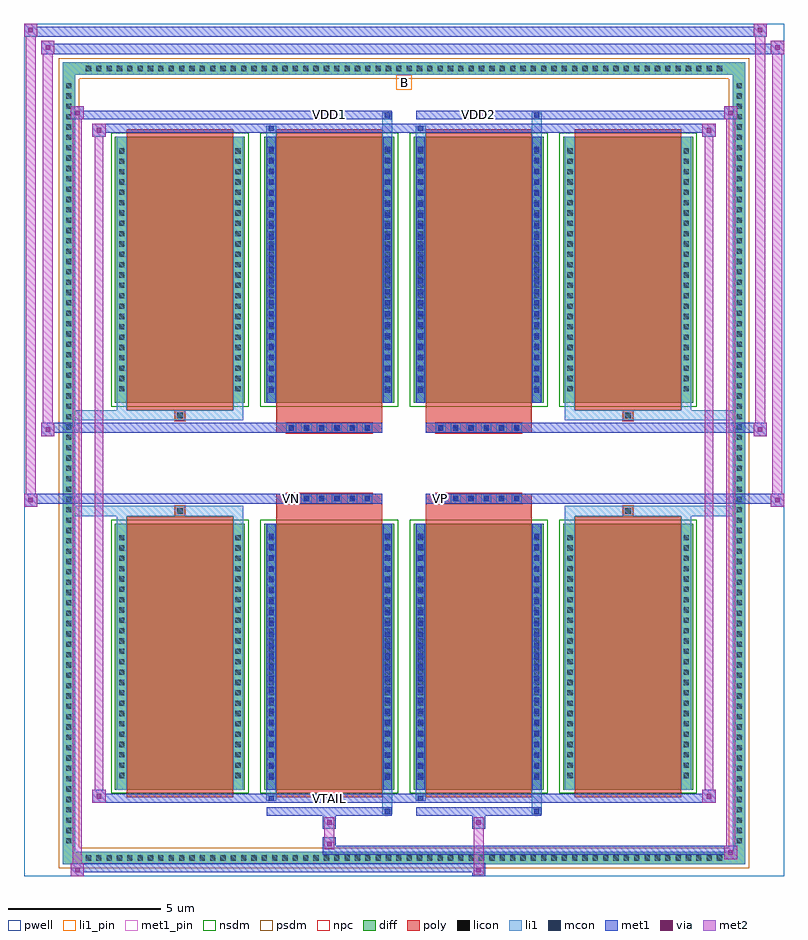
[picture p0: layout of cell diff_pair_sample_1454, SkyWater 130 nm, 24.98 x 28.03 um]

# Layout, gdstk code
import gdstk
lib = gdstk.Library(unit=1e-6, precision=5e-09)
def R(c, l, rs):  # rectangles x0, y0, x1, y1
    for r in rs: c.add(gdstk.rectangle(r[:2], r[2:], *l))
def A(c, l, x, y, w, h, nx, ny, dx, dy):  # array of equal rectangles
    R(c, l, [(x+i*dx, y+j*dy, x+i*dx+w, y+j*dy+h) for i in range(nx) for j in range(ny)])
def P(c, l, *ps):  # polygons
    for p in ps: c.add(gdstk.Polygon(p, *l))
pwell = (64, 44)
diff = (65, 20)
poly = (66, 20)
licon = (66, 44)
li1_pin = (67, 16)
li1 = (67, 20)
mcon = (67, 44)
met1_pin = (68, 16)
met1 = (68, 20)
via = (68, 44)
met2 = (69, 20)
nsdm = (93, 44)
psdm = (94, 20)
npc = (95, 20)

diff_pair_sample_1454 = lib.new_cell('diff_pair_sample_1454')
R(diff_pair_sample_1454, pwell, [(-12.49,-13.58,12.49,14.45), (-9.81,-11.77,-0.01,-0.795), (0.01,-11.77,9.81,-0.795), (-9.81,0.795,-0.01,11.77), (0.01,0.795,9.81,11.77)])
A(diff_pair_sample_1454, diff, -10.575, -13.18, 0.41, 0.41, 62, 2, 0.34, 25.95)
A(diff_pair_sample_1454, diff, -11.22, -12.615, 0.41, 0.41, 1, 74, 0, 0.34)
A(diff_pair_sample_1454, diff, 10.81, -12.615, 0.41, 0.41, 1, 74, 0, 0.34)
A(diff_pair_sample_1454, diff, -9.5, -10.725, 4.27, 8.74, 4, 2, 4.91, 12.71)
R(diff_pair_sample_1454, diff, [(-10.575,-13.18,10.575,-12.77), (-11.22,-12.615,-10.81,12.615), (10.81,-12.615,11.22,12.615), (-10.575,12.77,10.575,13.18)])
P(diff_pair_sample_1454, diff, [(11.22,13.18),(-11.22,13.18),(-11.22,-12.77),(-10.81,-12.77),(-10.81,12.77),(10.81,12.77),(10.81,-12.77),(-10.81,-12.77),(-11.22,-12.77),(-11.22,-13.18),(11.22,-13.18)])
A(diff_pair_sample_1454, poly, -9.11, -10.975, 3.49, 9.24, 4, 2, 4.91, 12.71)
A(diff_pair_sample_1454, poly, -3.87, -1.325, 0.33, 0.33, 6, 2, 0.5, 2.32)
A(diff_pair_sample_1454, poly, 1.04, -1.325, 0.33, 0.33, 6, 2, 0.5, 2.32)
R(diff_pair_sample_1454, poly, [(-7.53,-1.735,-7.2,-1.405), (-7.53,-1.735,-7.2,-1.405), (-4.2,-1.735,-0.71,-1.325), (0.71,-1.735,4.2,-1.325), (7.2,-1.735,7.53,-1.405), (7.2,-1.735,7.53,-1.405), (-4.2,-1.325,-0.71,-0.995), (0.71,-1.325,4.2,-0.995), (-4.2,0.995,-0.71,1.325), (0.71,0.995,4.2,1.325), (-4.2,1.325,-0.71,1.735), (0.71,1.325,4.2,1.735), (-7.53,1.405,-7.2,1.735), (-7.53,1.405,-7.2,1.735), (7.2,1.405,7.53,1.735), (7.2,1.405,7.53,1.735)])
A(diff_pair_sample_1454, licon, -10.455, -13.06, 0.17, 0.17, 62, 2, 0.34, 25.95)
A(diff_pair_sample_1454, licon, -11.1, -12.495, 0.17, 0.17, 1, 74, 0, 0.34)
A(diff_pair_sample_1454, licon, 10.93, -12.495, 0.17, 0.17, 1, 74, 0, 0.34)
A(diff_pair_sample_1454, licon, -9.36, -10.35, 0.17, 0.17, 1, 24, 0, 0.34)
A(diff_pair_sample_1454, licon, -5.54, -10.35, 0.17, 0.17, 1, 24, 0, 0.34)
A(diff_pair_sample_1454, licon, -4.45, -10.35, 0.17, 0.17, 1, 24, 0, 0.34)
A(diff_pair_sample_1454, licon, -0.63, -10.35, 0.17, 0.17, 1, 24, 0, 0.34)
A(diff_pair_sample_1454, licon, 0.46, -10.35, 0.17, 0.17, 1, 24, 0, 0.34)
A(diff_pair_sample_1454, licon, 4.28, -10.35, 0.17, 0.17, 1, 24, 0, 0.34)
A(diff_pair_sample_1454, licon, 5.37, -10.35, 0.17, 0.17, 1, 24, 0, 0.34)
A(diff_pair_sample_1454, licon, 9.19, -10.35, 0.17, 0.17, 1, 24, 0, 0.34)
A(diff_pair_sample_1454, licon, -3.79, -1.245, 0.17, 0.17, 6, 2, 0.5, 2.32)
A(diff_pair_sample_1454, licon, 1.12, -1.245, 0.17, 0.17, 6, 2, 0.5, 2.32)
A(diff_pair_sample_1454, licon, -9.36, 2.36, 0.17, 0.17, 1, 24, 0, 0.34)
A(diff_pair_sample_1454, licon, -5.54, 2.36, 0.17, 0.17, 1, 24, 0, 0.34)
A(diff_pair_sample_1454, licon, -4.45, 2.36, 0.17, 0.17, 1, 24, 0, 0.34)
A(diff_pair_sample_1454, licon, -0.63, 2.36, 0.17, 0.17, 1, 24, 0, 0.34)
A(diff_pair_sample_1454, licon, 0.46, 2.36, 0.17, 0.17, 1, 24, 0, 0.34)
A(diff_pair_sample_1454, licon, 4.28, 2.36, 0.17, 0.17, 1, 24, 0, 0.34)
A(diff_pair_sample_1454, licon, 5.37, 2.36, 0.17, 0.17, 1, 24, 0, 0.34)
A(diff_pair_sample_1454, licon, 9.19, 2.36, 0.17, 0.17, 1, 24, 0, 0.34)
R(diff_pair_sample_1454, licon, [(-7.45,-1.655,-7.28,-1.485), (7.28,-1.655,7.45,-1.485), (-7.45,1.485,-7.28,1.655), (7.28,1.485,7.45,1.655)])
R(diff_pair_sample_1454, li1_pin, [(-0.25,12.27,0.25,12.77)])
A(diff_pair_sample_1454, li1, -10.535, -13.14, 0.33, 0.33, 62, 2, 0.34, 25.95)
A(diff_pair_sample_1454, li1, -11.18, -12.575, 0.33, 0.33, 1, 74, 0, 0.34)
A(diff_pair_sample_1454, li1, 10.85, -12.575, 0.33, 0.33, 1, 74, 0, 0.34)
A(diff_pair_sample_1454, li1, -9.44, -10.43, 0.33, 0.33, 1, 24, 0, 0.34)
A(diff_pair_sample_1454, li1, -5.62, -10.43, 0.33, 0.33, 1, 24, 0, 0.34)
A(diff_pair_sample_1454, li1, -4.53, -10.43, 0.33, 0.33, 1, 24, 0, 0.34)
A(diff_pair_sample_1454, li1, -0.71, -10.43, 0.33, 0.33, 1, 24, 0, 0.34)
A(diff_pair_sample_1454, li1, 0.38, -10.43, 0.33, 0.33, 1, 24, 0, 0.34)
A(diff_pair_sample_1454, li1, 4.2, -10.43, 0.33, 0.33, 1, 24, 0, 0.34)
A(diff_pair_sample_1454, li1, 5.29, -10.43, 0.33, 0.33, 1, 24, 0, 0.34)
A(diff_pair_sample_1454, li1, 9.11, -10.43, 0.33, 0.33, 1, 24, 0, 0.34)
A(diff_pair_sample_1454, li1, -4.45, -10.4, 0.17, 0.17, 1, 23, 0, 0.36)
A(diff_pair_sample_1454, li1, -0.63, -10.4, 0.17, 0.17, 1, 23, 0, 0.36)
A(diff_pair_sample_1454, li1, 0.46, -10.4, 0.17, 0.17, 1, 23, 0, 0.36)
A(diff_pair_sample_1454, li1, 4.28, -10.4, 0.17, 0.17, 1, 23, 0, 0.36)
A(diff_pair_sample_1454, li1, -3.87, -1.325, 0.33, 0.33, 6, 2, 0.5, 2.32)
A(diff_pair_sample_1454, li1, 1.04, -1.325, 0.33, 0.33, 6, 2, 0.5, 2.32)
A(diff_pair_sample_1454, li1, -9.44, 2.28, 0.33, 0.33, 1, 24, 0, 0.34)
A(diff_pair_sample_1454, li1, -5.62, 2.28, 0.33, 0.33, 1, 24, 0, 0.34)
A(diff_pair_sample_1454, li1, -4.53, 2.28, 0.33, 0.33, 1, 24, 0, 0.34)
A(diff_pair_sample_1454, li1, -0.71, 2.28, 0.33, 0.33, 1, 24, 0, 0.34)
A(diff_pair_sample_1454, li1, 0.38, 2.28, 0.33, 0.33, 1, 24, 0, 0.34)
A(diff_pair_sample_1454, li1, 4.2, 2.28, 0.33, 0.33, 1, 24, 0, 0.34)
A(diff_pair_sample_1454, li1, 5.29, 2.28, 0.33, 0.33, 1, 24, 0, 0.34)
A(diff_pair_sample_1454, li1, 9.11, 2.28, 0.33, 0.33, 1, 24, 0, 0.34)
A(diff_pair_sample_1454, li1, -4.45, 2.31, 0.17, 0.17, 1, 23, 0, 0.36)
A(diff_pair_sample_1454, li1, -0.63, 2.31, 0.17, 0.17, 1, 23, 0, 0.36)
A(diff_pair_sample_1454, li1, 0.46, 2.31, 0.17, 0.17, 1, 23, 0, 0.36)
A(diff_pair_sample_1454, li1, 4.28, 2.31, 0.17, 0.17, 1, 23, 0, 0.36)
R(diff_pair_sample_1454, li1, [(-11.22,-13.18,-10.81,-12.77), (-11.22,-13.18,-10.81,-12.77), (-10.81,-13.18,10.81,-12.77), (10.81,-13.18,11.22,-12.77), (10.81,-13.18,11.22,-12.77), (-11.22,-12.77,-10.81,12.77), (10.81,-12.77,11.22,12.77), (-0.71,-11.53,-0.38,-10.725), (-0.63,-11.53,-0.46,-11.36), (4.2,-11.53,4.53,-10.725), (4.28,-11.53,4.45,-11.36), (-4.53,-11.1,-4.2,-10.725), (-4.45,-11.1,-4.28,-10.93), (0.38,-11.1,0.71,-10.725), (0.46,-11.1,0.63,-10.93), (-9.44,-10.725,-9.11,-1.985), (-5.62,-10.725,-5.29,-1.985), (-4.53,-10.725,-4.2,-1.985), (-0.71,-10.725,-0.38,-1.985), (0.38,-10.725,0.71,-1.985), (4.2,-10.725,4.53,-1.985), (5.29,-10.725,5.62,-1.985), (9.11,-10.725,9.44,-1.985), (-4.45,-10.4,-4.28,-2.31), (-0.63,-10.4,-0.46,-2.31), (0.46,-10.4,0.63,-2.31), (4.28,-10.4,4.45,-2.31), (-9.44,-1.985,-9.11,-1.405), (-5.62,-1.985,-5.29,-1.405), (5.29,-1.985,5.62,-1.405), (9.11,-1.985,9.44,-1.405), (-11.22,-1.735,-7.53,-1.405), (-9.44,-1.735,-7.53,-1.405), (-7.53,-1.735,-7.2,-1.405), (-7.2,-1.735,-5.29,-1.405), (5.29,-1.735,7.2,-1.405), (7.2,-1.735,7.53,-1.405), (7.2,-1.735,11.22,-1.405), (7.53,-1.735,9.44,-1.405), (-11.22,1.405,-7.53,1.735), (-9.44,1.405,-7.53,1.735), (-9.44,1.405,-9.11,1.985), (-7.53,1.405,-7.2,1.735), (-7.2,1.405,-5.29,1.735), (-5.62,1.405,-5.29,1.985), (5.29,1.405,7.2,1.735), (5.29,1.405,5.62,1.985), (7.2,1.405,7.53,1.735), (7.2,1.405,11.22,1.735), (7.53,1.405,9.44,1.735), (9.11,1.405,9.44,1.985), (-9.44,1.985,-9.11,10.725), (-5.62,1.985,-5.29,10.725), (-4.53,1.985,-4.2,10.725), (-0.71,1.985,-0.38,10.725), (0.38,1.985,0.71,10.725), (4.2,1.985,4.53,10.725), (5.29,1.985,5.62,10.725), (9.11,1.985,9.44,10.725), (-4.45,2.31,-4.28,10.4), (-0.63,2.31,-0.46,10.4), (0.46,2.31,0.63,10.4), (4.28,2.31,4.45,10.4), (-4.53,10.725,-4.2,11.1), (-0.71,10.725,-0.38,11.53), (0.38,10.725,0.71,11.1), (4.2,10.725,4.53,11.53), (-4.45,10.93,-4.28,11.1), (0.46,10.93,0.63,11.1), (-0.63,11.36,-0.46,11.53), (4.28,11.36,4.45,11.53), (-11.22,12.77,-10.81,13.18), (-11.22,12.77,-10.81,13.18), (-10.81,12.77,10.81,13.18), (10.81,12.77,11.22,13.18), (10.81,12.77,11.22,13.18)])
A(diff_pair_sample_1454, mcon, -4.45, -10.4, 0.17, 0.17, 1, 23, 0, 0.36)
A(diff_pair_sample_1454, mcon, -0.63, -10.4, 0.17, 0.17, 1, 23, 0, 0.36)
A(diff_pair_sample_1454, mcon, 0.46, -10.4, 0.17, 0.17, 1, 23, 0, 0.36)
A(diff_pair_sample_1454, mcon, 4.28, -10.4, 0.17, 0.17, 1, 23, 0, 0.36)
A(diff_pair_sample_1454, mcon, -3.79, -1.245, 0.17, 0.17, 6, 2, 0.5, 2.32)
A(diff_pair_sample_1454, mcon, 1.12, -1.245, 0.17, 0.17, 6, 2, 0.5, 2.32)
A(diff_pair_sample_1454, mcon, -4.45, 2.31, 0.17, 0.17, 1, 23, 0, 0.36)
A(diff_pair_sample_1454, mcon, -0.63, 2.31, 0.17, 0.17, 1, 23, 0, 0.36)
A(diff_pair_sample_1454, mcon, 0.46, 2.31, 0.17, 0.17, 1, 23, 0, 0.36)
A(diff_pair_sample_1454, mcon, 4.28, 2.31, 0.17, 0.17, 1, 23, 0, 0.36)
R(diff_pair_sample_1454, mcon, [(-0.63,-11.53,-0.46,-11.36), (4.28,-11.53,4.45,-11.36), (-4.45,-11.1,-4.28,-10.93), (0.46,-11.1,0.63,-10.93), (-4.45,10.93,-4.28,11.1), (0.46,10.93,0.63,11.1), (-0.63,11.36,-0.46,11.53), (4.28,11.36,4.45,11.53)])
R(diff_pair_sample_1454, met1_pin, [(-2.59,-11.14,-2.32,-10.87), (-3.84,-1.285,-3.57,-1.015), (1.07,-1.285,1.34,-1.015), (-2.59,11.32,-2.32,11.59), (2.32,11.32,2.59,11.59)])
A(diff_pair_sample_1454, met1, -4.51, -10.46, 0.29, 0.29, 1, 23, 0, 0.36)
A(diff_pair_sample_1454, met1, -0.69, -10.46, 0.29, 0.29, 1, 23, 0, 0.36)
A(diff_pair_sample_1454, met1, 0.4, -10.46, 0.29, 0.29, 1, 23, 0, 0.36)
A(diff_pair_sample_1454, met1, 4.22, -10.46, 0.29, 0.29, 1, 23, 0, 0.36)
A(diff_pair_sample_1454, met1, -3.85, -1.305, 0.29, 0.29, 6, 2, 0.5, 2.32)
A(diff_pair_sample_1454, met1, 1.06, -1.305, 0.29, 0.29, 6, 2, 0.5, 2.32)
A(diff_pair_sample_1454, met1, -4.51, 2.25, 0.29, 0.29, 1, 23, 0, 0.36)
A(diff_pair_sample_1454, met1, -0.69, 2.25, 0.29, 0.29, 1, 23, 0, 0.36)
A(diff_pair_sample_1454, met1, 0.4, 2.25, 0.29, 0.29, 1, 23, 0, 0.36)
A(diff_pair_sample_1454, met1, 4.22, 2.25, 0.29, 0.29, 1, 23, 0, 0.36)
R(diff_pair_sample_1454, met1, [(-10.95,-13.58,-10.52,-13.15), (2.24,-13.58,2.67,-13.15), (-10.95,-13.44,2.67,-13.15), (10.52,-13.01,10.95,-12.58), (-2.67,-12.87,10.95,-12.58), (-2.67,-12.73,-2.24,-12.3), (-2.67,-12.02,-2.24,-11.59), (2.24,-12.02,2.67,-11.59), (-4.51,-11.59,-0.4,-11.3), (-0.69,-11.59,-0.4,-11.3), (0.4,-11.59,4.51,-11.3), (4.22,-11.59,4.51,-11.3), (-10.24,-11.16,-9.81,-10.73), (-10.24,-11.16,-4.51,-10.87), (-4.51,-11.16,-4.22,-10.87), (-4.51,-11.16,-0.4,-10.87), (-0.4,-11.16,0.4,-10.87), (0.4,-11.16,0.69,-10.87), (0.4,-11.16,4.51,-10.87), (4.51,-11.16,10.24,-10.87), (9.81,-11.16,10.24,-10.73), (-4.51,-10.725,-4.22,-1.985), (-0.69,-10.725,-0.4,-1.985), (0.4,-10.725,0.69,-1.985), (4.22,-10.725,4.51,-1.985), (-12.49,-1.425,-12.06,-0.995), (12.06,-1.425,12.49,-0.995), (-12.49,-1.325,-0.71,-0.995), (-4.2,-1.325,-0.71,-0.995), (0.71,-1.325,4.2,-0.995), (0.71,-1.325,12.49,-0.995), (-11.92,0.895,-11.49,1.325), (11.49,0.895,11.92,1.325), (-11.92,0.995,-4.2,1.325), (-4.2,0.995,-0.71,1.325), (0.71,0.995,4.2,1.325), (4.2,0.995,11.92,1.325), (-4.51,1.985,-4.22,10.725), (-0.69,1.985,-0.4,10.725), (0.4,1.985,0.69,10.725), (4.22,1.985,4.51,10.725), (-10.24,10.73,-9.81,11.16), (9.81,10.73,10.24,11.16), (-10.24,10.87,-4.51,11.16), (-4.51,10.87,-4.22,11.16), (-4.51,10.87,-0.4,11.16), (-0.4,10.87,0.4,11.16), (0.4,10.87,0.69,11.16), (0.4,10.87,4.51,11.16), (4.51,10.87,10.24,11.16), (-10.95,11.3,-10.52,11.73), (-10.95,11.3,-4.51,11.59), (-4.51,11.3,-0.4,11.59), (-0.69,11.3,-0.4,11.59), (0.4,11.3,4.51,11.59), (4.22,11.3,4.51,11.59), (4.51,11.3,10.95,11.59), (10.52,11.3,10.95,11.73), (-11.92,13.45,-11.49,13.88), (-11.92,13.45,-9.81,13.78), (-9.81,13.45,9.81,13.78), (9.81,13.45,12.49,13.78), (12.06,13.45,12.49,13.88), (-12.49,14.02,-12.06,14.45), (-12.49,14.02,-9.81,14.35), (-9.81,14.02,9.81,14.35), (9.81,14.02,11.92,14.35), (11.49,14.02,11.92,14.45)])
R(diff_pair_sample_1454, via, [(-10.81,-13.44,-10.66,-13.29), (2.38,-13.44,2.53,-13.29), (10.66,-12.87,10.81,-12.72), (-2.53,-12.59,-2.38,-12.44), (-2.53,-11.88,-2.38,-11.73), (2.38,-11.88,2.53,-11.73), (-10.1,-11.02,-9.95,-10.87), (9.95,-11.02,10.1,-10.87), (-12.35,-1.285,-12.2,-1.135), (12.2,-1.285,12.35,-1.135), (-11.78,1.035,-11.63,1.185), (11.63,1.035,11.78,1.185), (-10.1,10.87,-9.95,11.02), (9.95,10.87,10.1,11.02), (-10.81,11.44,-10.66,11.59), (10.66,11.44,10.81,11.59), (-11.78,13.59,-11.63,13.74), (12.2,13.59,12.35,13.74), (-12.35,14.16,-12.2,14.31), (11.63,14.16,11.78,14.31)])
R(diff_pair_sample_1454, met2, [(-10.95,-13.58,-10.52,-13.15), (-10.88,-13.58,-10.59,11.73), (-10.59,-13.58,-10.52,-13.15), (-10.9,-13.53,-10.57,-13.2), (2.29,-13.53,2.62,-13.2), (2.29,-13.2,2.62,-11.97), (10.52,-13.01,10.95,-12.58), (10.59,-13.01,10.88,11.73), (10.88,-13.01,10.95,-12.58), (10.57,-12.96,10.9,-12.63), (-2.62,-12.68,-2.29,-12.35), (-2.62,-12.35,-2.29,-11.97), (-2.62,-11.97,-2.29,-11.64), (2.29,-11.97,2.62,-11.64), (-10.24,-11.16,-9.81,-10.73), (-10.17,-11.16,-9.88,11.16), (-9.88,-11.16,-9.81,-10.73), (9.81,-11.16,10.24,-10.73), (9.88,-11.16,10.17,11.16), (10.17,-11.16,10.24,-10.73), (-10.19,-11.11,-9.86,-10.78), (9.86,-11.11,10.19,-10.78), (-12.49,-1.425,-12.06,-0.995), (-12.44,-1.425,-12.11,14.45), (-12.11,-1.425,-12.06,-0.995), (12.06,-1.425,12.49,-0.995), (12.11,-1.425,12.44,13.88), (12.44,-1.425,12.49,-0.995), (-12.44,-1.375,-12.11,-1.045), (12.11,-1.375,12.44,-1.045), (-11.92,0.895,-11.49,1.325), (-11.87,0.895,-11.54,13.88), (-11.54,0.895,-11.49,1.325), (11.49,0.895,11.92,1.325), (11.54,0.895,11.87,14.45), (11.87,0.895,11.92,1.325), (-11.87,0.945,-11.54,1.275), (11.54,0.945,11.87,1.275), (-10.24,10.73,-9.81,11.16), (-9.88,10.73,-9.81,11.16), (9.81,10.73,10.24,11.16), (10.17,10.73,10.24,11.16), (-10.19,10.78,-9.86,11.11), (9.86,10.78,10.19,11.11), (-10.95,11.3,-10.52,11.73), (-10.59,11.3,-10.52,11.73), (10.52,11.3,10.95,11.73), (10.88,11.3,10.95,11.73), (-10.9,11.35,-10.57,11.68), (10.57,11.35,10.9,11.68), (-11.92,13.45,-11.49,13.88), (-11.54,13.45,-11.49,13.88), (12.06,13.45,12.49,13.88), (12.44,13.45,12.49,13.88), (-11.87,13.5,-11.54,13.83), (12.11,13.5,12.44,13.83), (-12.49,14.02,-12.06,14.45), (-12.11,14.02,-12.06,14.45), (11.49,14.02,11.92,14.45), (11.87,14.02,11.92,14.45), (-12.44,14.07,-12.11,14.4), (11.54,14.07,11.87,14.4)])
A(diff_pair_sample_1454, nsdm, -9.63, -10.855, 4.53, 9, 4, 2, 4.91, 12.71)
P(diff_pair_sample_1454, psdm, [(11.35,13.31),(-11.35,13.31),(-11.35,-12.64),(-10.68,-12.64),(-10.68,12.64),(10.68,12.64),(10.68,-12.64),(-10.68,-12.64),(-11.35,-12.64),(-11.35,-13.31),(11.35,-13.31)])
A(diff_pair_sample_1454, npc, -3.89, -1.345, 0.37, 0.37, 6, 2, 0.5, 2.32)
A(diff_pair_sample_1454, npc, 1.02, -1.345, 0.37, 0.37, 6, 2, 0.5, 2.32)
R(diff_pair_sample_1454, npc, [(-7.55,-1.755,-7.18,-1.385), (7.18,-1.755,7.55,-1.385), (-3.89,-1.345,-3.02,-0.975), (-3.89,-1.345,-3.02,-0.975), (-3.39,-1.345,-2.52,-0.975), (-3.39,-1.345,-2.52,-0.975), (-2.89,-1.345,-2.02,-0.975), (-2.89,-1.345,-2.02,-0.975), (-2.39,-1.345,-1.52,-0.975), (-2.39,-1.345,-1.52,-0.975), (-1.89,-1.345,-1.02,-0.975), (-1.89,-1.345,-1.02,-0.975), (1.02,-1.345,1.89,-0.975), (1.02,-1.345,1.89,-0.975), (1.52,-1.345,2.39,-0.975), (1.52,-1.345,2.39,-0.975), (2.02,-1.345,2.89,-0.975), (2.02,-1.345,2.89,-0.975), (2.52,-1.345,3.39,-0.975), (2.52,-1.345,3.39,-0.975), (3.02,-1.345,3.89,-0.975), (3.02,-1.345,3.89,-0.975), (-3.89,0.975,-3.02,1.345), (-3.89,0.975,-3.02,1.345), (-3.39,0.975,-2.52,1.345), (-3.39,0.975,-2.52,1.345), (-2.89,0.975,-2.02,1.345), (-2.89,0.975,-2.02,1.345), (-2.39,0.975,-1.52,1.345), (-2.39,0.975,-1.52,1.345), (-1.89,0.975,-1.02,1.345), (-1.89,0.975,-1.02,1.345), (1.02,0.975,1.89,1.345), (1.02,0.975,1.89,1.345), (1.52,0.975,2.39,1.345), (1.52,0.975,2.39,1.345), (2.02,0.975,2.89,1.345), (2.02,0.975,2.89,1.345), (2.52,0.975,3.39,1.345), (2.52,0.975,3.39,1.345), (3.02,0.975,3.89,1.345), (3.02,0.975,3.89,1.345), (-7.55,1.385,-7.18,1.755), (7.18,1.385,7.55,1.755)])
diff_pair_sample_1454.add(gdstk.Label('VTAIL', (-2.455,-11.005), layer=68, texttype=5))
diff_pair_sample_1454.add(gdstk.Label('VN', (-3.705,-1.15), layer=68, texttype=5))
diff_pair_sample_1454.add(gdstk.Label('VP', (1.205,-1.15), layer=68, texttype=5))
diff_pair_sample_1454.add(gdstk.Label('B', (0,12.52), layer=67, texttype=5))
diff_pair_sample_1454.add(gdstk.Label('VDD2', (2.455,11.455), layer=68, texttype=5))
diff_pair_sample_1454.add(gdstk.Label('VDD1', (-2.455,11.455), layer=68, texttype=5))

lib.write_gds('diff_pair_sample_1454.gds')
